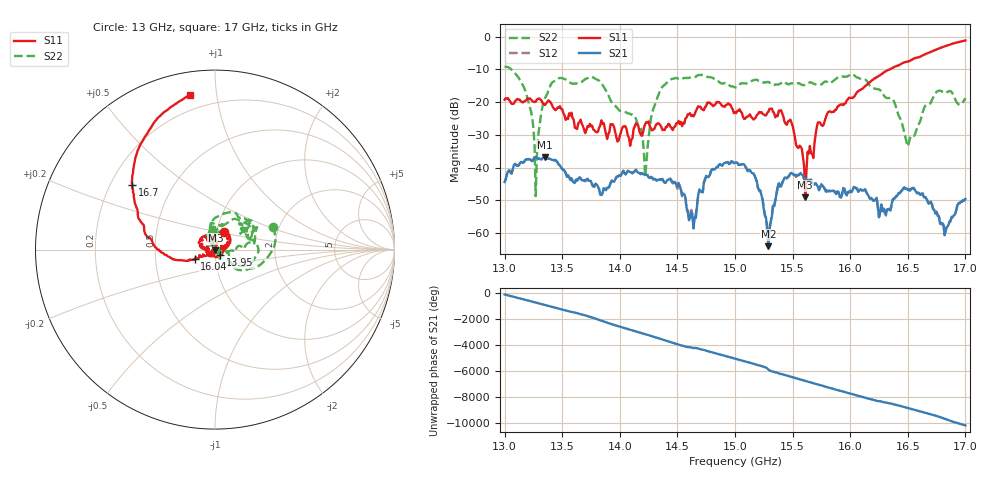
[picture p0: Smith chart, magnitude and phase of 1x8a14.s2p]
!Keysight Technologies,P9374A,MY57211807,A.19.30.04
!Date: Friday, May 08, 2026 14:11:06
!Correction: S11(C  2-Port  )
!S21(C  2-Port  )
!S12(C  2-Port  )
!S22(C  2-Port  )
!S2P File: Measurements: S11, S21, S12, S22:
# Hz S  dB  R 50
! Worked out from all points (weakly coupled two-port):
!   401 points, 13 GHz to 17 GHz, reference 50 ohm
!   highest |S21| = -36.76 dB at 13.35 GHz (marker M1); lowest = -63.9 dB at 15.29 GHz (marker M2)
!   lowest |S11| = -49.0 dB at 15.61 GHz (marker M3), VSWR 1.01, Z = 50.2 - j0.293 ohm
!   |S11| at or under -10 dB: start of sweep to 16.34 GHz
!   |S22| runs from -48.7 to -9.2 dB; largest |S21 - S12| = 0.00055
!   S11 on the Smith chart (normalised r, x): 13 GHz: 1.09, +0.21; 13.95 GHz: 1.06, -0.06; 16.04 GHz: 0.79, -0.08; 16.7 GHz: 0.29, +0.32; 17 GHz: 0.12, +0.84
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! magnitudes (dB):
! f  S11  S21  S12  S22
! 13 GHz  -19.3  -44.4  -44.4  -9.2
! 13.18 GHz  -19.7  -37.7  -37.6  -16.6
! 13.27 GHz  -19.8  -36.9  -36.7  -48.7
! 13.35 GHz  -20.9  -36.8  -36.8  -18.8
! 13.67 GHz  -26.6  -43.8  -44.1  -13.8
! 13.95 GHz  -27.6  -44.3  -44.1  -20.9
! 14.22 GHz  -26.7  -42.2  -42.3  -42.4
! 14.34 GHz  -26.6  -43.8  -43.7  -17.3
! 14.64 GHz  -24.3  -58.5  -57.3  -12.4
! 14.75 GHz  -21.2  -42.5  -42.6  -12.2
! 15 GHz  -23.0  -38.5  -38.5  -15.5
! 15.17 GHz  -25.1  -42.5  -42.4  -13.2
! 15.29 GHz  -22.9  -63.9  -60.8  -13.8
! 15.39 GHz  -22.7  -45.8  -45.4  -14.4
! 15.61 GHz  -49.0  -43.3  -43.3  -14.7
! 15.67 GHz  -35.9  -44.3  -44.4  -14.2
! 16.04 GHz  -18.1  -46.0  -45.9  -12.0
! 16.34 GHz  -10.1  -52.6  -52.7  -18.7
! 16.5 GHz  -7.6  -46.8  -46.8  -33.5
! 16.7 GHz  -4.7  -50.3  -50.4  -20.1
! 16.83 GHz  -2.8  -59.2  -58.4  -17.1
! 17 GHz  -1.2  -49.5  -49.5  -18.8
